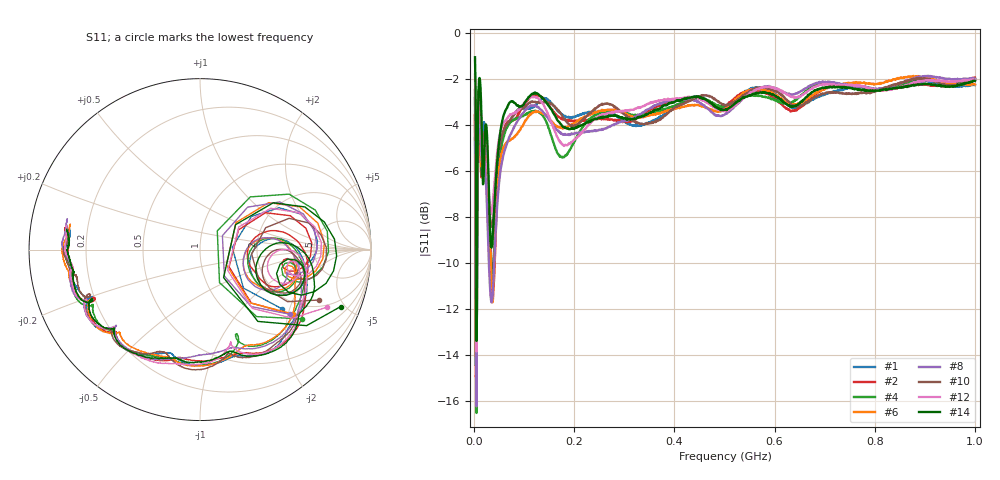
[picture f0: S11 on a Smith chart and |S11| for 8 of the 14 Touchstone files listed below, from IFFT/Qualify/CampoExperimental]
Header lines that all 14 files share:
!Keysight Technologies N9923A: A.08.19
!Date: Thursday, 16 January 2020 11:30:00
!TimeZone: (GMT-03:00) Brasilia!Model: N9923A
!Serial: MY51491501
!GPS Latitude:
!GPS Longitude:
!GPS TimeStamp: 0001-01-01 00:00:00Z
!GPS Seconds Since Last Read: 0
!CHECKSUM:1078980270
!Correction: S11(ON U)
!S1P File: Measurement: S11:
# Hz S DB R 50
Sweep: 2 MHz to 1 GHz
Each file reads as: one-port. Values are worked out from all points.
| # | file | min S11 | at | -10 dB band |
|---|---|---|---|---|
| 1 | 1Z.s1p | -14.5 dB | 3.996 MHz | 4.656 MHz wide |
| 2 | 2Z.s1p | -14.1 dB | 3.996 MHz | 6.866 MHz wide |
| 3 | 3Z.s1p | -15.3 dB | 3.996 MHz | 7.275 MHz wide |
| 4 | 4Z.s1p | -16.5 dB | 4.994 MHz | 6.163 MHz wide |
| 5 | 5Z.s1p | -23.1 dB | 4.994 MHz | 6.31 MHz wide |
| 6 | 6Z.s1p | -15.0 dB | 3.996 MHz | 7.206 MHz wide |
| 7 | 7Z.s1p | -14.4 dB | 4.994 MHz | 2.13 MHz wide |
| 8 | 8Z.s1p | -16.2 dB | 4.994 MHz | 10.76 MHz wide |
| 9 | 9Z.s1p | -8.4 dB | 27.95 MHz | - |
| 10 | 10Z.s1p | -10.4 dB | 4.994 MHz | 282.7 kHz wide |
| 11 | 11Z.s1p | -11.6 dB | 5.992 MHz | 1.596 MHz wide |
| 12 | 12Z.s1p | -13.8 dB | 4.994 MHz | 1.846 MHz wide |
| 13 | 13Z.s1p | -14.8 dB | 4.994 MHz | 1.563 MHz wide |
| 14 | 14Z.s1p | -13.4 dB | 4.994 MHz | 1.735 MHz wide |
